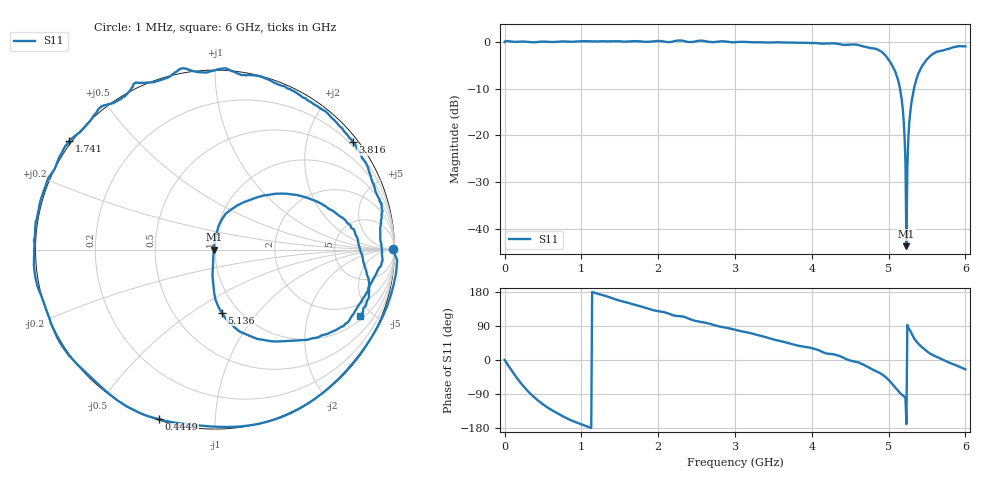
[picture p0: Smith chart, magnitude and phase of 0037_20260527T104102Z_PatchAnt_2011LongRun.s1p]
# Hz S RI R 50
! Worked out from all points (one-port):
!   501 points, 1 MHz to 6 GHz, reference 50 ohm
!   lowest |S11| = -43.6 dB at 5.232 GHz (marker M1), VSWR 1.01, Z = 49.4 - j0.122 ohm
!   |S11| at or under -10 dB: 5.149 GHz to 5.331 GHz (182.5 MHz wide, 3.48 % of centre)
!   S11 on the Smith chart (normalised r, x): 1 MHz: open; 444.9 MHz: 0.00, -0.72; 1.741 GHz: -0.01, +0.33; 3.816 GHz: 0.13, +2.90; 5.136 GHz: 0.83, -0.67; 6 GHz: 1.18, -4.26
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1000000  0.9908 0.00123
8.4986e7  0.9058 -0.4306
2.16964e8  0.468 -0.8872
3.0095e8  0.1463 -0.985
4.44926e8  -0.3139 -0.9447
7.56874e8  -0.8555 -0.5309
1.068822e9  -1.009 -0.09
1.50075e9  -0.9261 0.4044
1.74071e9  -0.811 0.6047
2.256624e9  -0.4528 0.9231
3.0005e9  0.1717 0.9706
3.756374e9  0.736 0.6405
3.816364e9  0.7663 0.5992
4.308282e9  0.9286 0.2303
4.50025e9  0.9303 -0.0202
4.872188e9  0.684 -0.4425
5.028162e9  0.3083 -0.5101
5.136144e9  0.0369 -0.3514
5.184136e9  -0.00974 -0.1934
5.196134e9  -0.0142 -0.145
5.208132e9  -0.0116 -0.0945
5.232128e9  -0.00648 -0.00123
5.256124e9  0.00815 0.0872
5.268122e9  0.02 0.1314
5.292118e9  0.0586 0.1989
5.412098e9  0.3964 0.3115
5.628062e9  0.7744 0.1117
6e9  0.8097 -0.3719
